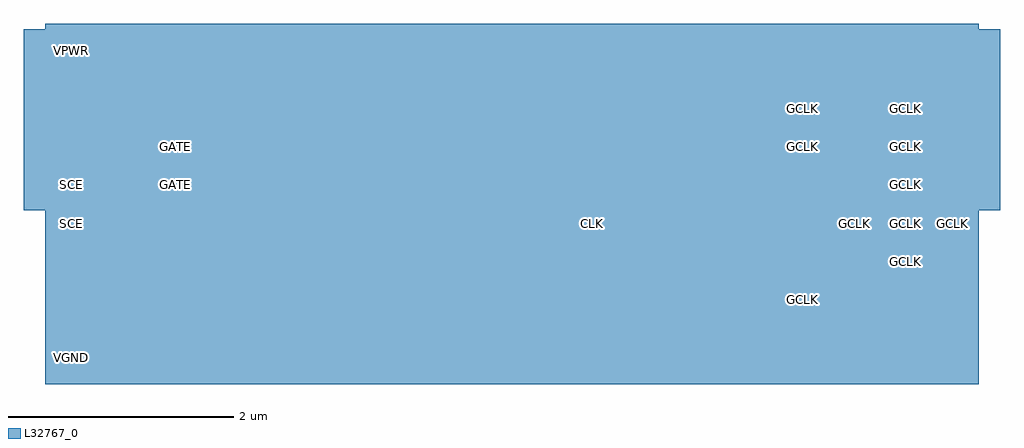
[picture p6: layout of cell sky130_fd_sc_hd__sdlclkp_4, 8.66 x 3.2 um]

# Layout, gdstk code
import gdstk
lib = gdstk.Library(unit=1e-6, precision=1e-09)
def R(c, l, rs):  # rectangles x0, y0, x1, y1
    for r in rs: c.add(gdstk.rectangle(r[:2], r[2:], *l))
def A(c, l, x, y, w, h, nx, ny, dx, dy):  # array of equal rectangles
    R(c, l, [(x+i*dx, y+j*dy, x+i*dx+w, y+j*dy+h) for i in range(nx) for j in range(ny)])
def P(c, l, *ps):  # polygons
    for p in ps: c.add(gdstk.Polygon(p, *l))
L32767_0 = (32767, 0)

sky130_fd_sc_hd__sdlclkp = lib.new_cell('sky130_fd_sc_hd__sdlclkp_4')
A(sky130_fd_sc_hd__sdlclkp, L32767_0, 0.605, -0.085, 0.17, 0.17, 17, 2, 0.46, 2.72)
A(sky130_fd_sc_hd__sdlclkp, L32767_0, 7.09, 1.105, 0.17, 0.17, 3, 1, 0.46, 0)
A(sky130_fd_sc_hd__sdlclkp, L32767_0, 7.55, 1.445, 0.17, 0.17, 1, 3, 0, 0.34)
A(sky130_fd_sc_hd__sdlclkp, L32767_0, 7.89, 1.575, 0.17, 0.17, 1, 3, 0, 0.34)
R(sky130_fd_sc_hd__sdlclkp, L32767_0, [(0,-0.19,8.28,1.015), (0.145,-0.085,0.315,0.085), (0.15,-0.085,0.32,0.085), (0.15,-0.085,0.32,0.085), (0,0,8.28,2.72), (0,0,8.28,2.72), (3.715,0.235,4.805,0.655), (5.225,0.235,8.1,0.885), (0.595,0.275,0.765,0.445), (1.55,0.275,1.72,0.445), (4.175,0.275,4.345,0.445), (6.08,0.275,6.25,0.445), (6.58,0.275,6.75,0.445), (7,0.295,7.17,0.465), (7.89,0.295,8.06,0.465), (1.015,0.335,1.185,0.505), (3.235,0.335,3.405,0.505), (7.42,0.335,7.59,0.505), (0.175,0.345,0.345,0.515), (5.265,0.375,5.435,0.545), (3.755,0.38,3.925,0.55), (4.595,0.38,4.765,0.55), (2.73,0.425,2.9,0.595), (6.63,0.425,6.8,0.595), (7.89,0.635,8.06,0.805), (1.875,0.705,2.16,1.035), (1.99,0.765,2.16,0.935), (3.85,0.765,4.02,0.935), (7.55,0.765,7.72,0.935), (1.365,0.785,1.535,0.955), (1.875,0.785,2.045,0.955), (0.085,0.955,0.345,1.665), (4.725,0.995,4.945,1.325), (5.685,0.995,6.065,1.325), (0.16,1.075,0.33,1.245), (0.855,1.075,1.025,1.245), (2.845,1.075,3.015,1.245), (4.725,1.075,4.895,1.245), (5.305,1.075,5.475,1.245), (5.895,1.075,6.065,1.245), (6.46,1.075,6.63,1.245), (0.15,1.105,0.32,1.275), (4.015,1.105,4.185,1.275), (4.77,1.105,4.94,1.275), (4.77,1.105,4.94,1.275), (5.71,1.105,5.88,1.275), (0,1.25,8.28,2.72), (-0.19,1.305,8.47,2.91), (0.15,1.445,0.32,1.615), (1.07,1.445,1.24,1.615), (1.53,1.445,1.7,1.615), (4.31,1.445,4.48,1.615), (5.205,1.485,8.1,2.485), (3.755,1.575,3.925,1.745), (4.725,1.575,4.895,1.745), (1.695,1.655,1.865,1.825), (2.375,1.655,2.545,1.825), (6.58,1.73,6.75,1.9), (7.42,1.73,7.59,1.9), (1.07,1.785,1.24,1.955), (6.63,1.785,6.8,1.955), (0.175,1.915,0.345,2.085), (7,1.915,7.17,2.085), (5.685,2.04,5.855,2.21), (6.58,2.07,6.75,2.24), (7.42,2.07,7.59,2.24), (3.235,2.12,3.405,2.29), (6.63,2.125,6.8,2.295), (1.01,2.205,1.18,2.375), (1.515,2.23,1.685,2.4), (0.175,2.255,0.345,2.425), (4.24,2.255,4.41,2.425), (7,2.255,7.17,2.425), (2.71,2.275,2.88,2.445), (5.265,2.275,5.435,2.445), (6.135,2.275,6.305,2.445), (0.145,2.635,0.315,2.805), (0.15,2.635,0.32,2.805), (0.15,2.635,0.32,2.805)])
P(sky130_fd_sc_hd__sdlclkp, L32767_0, [(4.08,0.965),(3.79,0.965),(3.79,0.92),(2.22,0.92),(2.22,0.965),(1.93,0.965),(1.93,0.735),(2.22,0.735),(2.22,0.78),(3.79,0.78),(3.79,0.735),(4.08,0.735)],
  [(5.94,1.305),(5.65,1.305),(5.65,1.26),(5,1.26),(5,1.305),(4.71,1.305),(4.71,1.075),(5,1.075),(5,1.12),(5.65,1.12),(5.65,1.075),(5.94,1.075)],
  [(4.54,1.645),(4.25,1.645),(4.25,1.6),(1.76,1.6),(1.76,1.645),(1.47,1.645),(1.47,1.415),(1.76,1.415),(1.76,1.46),(4.25,1.46),(4.25,1.415),(4.54,1.415)],
  [(8.28,0.085),(8.195,0.085),(8.195,0.885),(7.89,0.885),(7.89,0.085),(7.25,0.085),(7.25,0.545),(7,0.545),(7,0.085),(6.33,0.085),(6.33,0.445),(5.605,0.445),(5.605,0.085),(4.425,0.085),(4.425,0.445),(4.095,0.445),(4.095,0.085),(3.015,0.085),(3.015,0.825),(2.67,0.825),(2.67,0.085),(0.845,0.085),(0.845,0.445),(0.515,0.445),(0.515,0.085),(0,0.085),(0,-0.085),(8.28,-0.085)],
  [(8.28,2.805),(0,2.805),(0,2.635),(0.085,2.635),(0.085,1.835),(0.345,1.835),(0.345,2.635),(2.375,2.635),(2.375,2.075),(3.015,2.075),(3.015,2.635),(3.595,2.635),(3.595,2.255),(5.515,2.255),(5.515,2.635),(6.055,2.635),(6.055,2.255),(6.385,2.255),(6.385,2.635),(7,2.635),(7,1.825),(7.25,1.825),(7.25,2.635),(7.89,2.635),(7.89,1.485),(8.195,1.485),(8.195,2.635),(8.28,2.635)],
  [(8.195,1.315),(7.72,1.315),(7.72,2.465),(7.42,2.465),(7.42,1.315),(7.22,1.315),(7.22,1.655),(6.83,1.655),(6.83,2.465),(6.58,2.465),(6.58,1.485),(7.05,1.485),(7.05,0.885),(6.58,0.885),(6.58,0.445),(6.5,0.445),(6.5,0.255),(6.83,0.255),(6.83,0.715),(7.22,0.715),(7.22,1.055),(7.42,1.055),(7.42,0.255),(7.72,0.255),(7.72,1.055),(8.195,1.055)],
  [(6.88,1.315),(6.41,1.315),(6.41,2.085),(5.855,2.085),(5.855,2.465),(5.685,2.465),(5.685,1.495),(6.24,1.495),(6.24,0.785),(5.015,0.785),(5.015,0.255),(5.435,0.255),(5.435,0.615),(6.41,0.615),(6.41,1.055),(6.88,1.055)],
  [(5.515,2.085),(3.405,2.085),(3.405,2.465),(3.185,2.465),(3.185,1.905),(2.375,1.905),(2.375,1.575),(2.545,1.575),(2.545,1.635),(3.185,1.635),(3.185,0.255),(3.405,0.255),(3.405,1.915),(5.165,1.915),(5.165,0.995),(5.515,0.995)],
  [(4.975,1.745),(4.175,1.745),(4.175,1.275),(3.935,1.275),(3.935,1.105),(4.19,1.105),(4.19,0.615),(4.595,0.615),(4.595,0.255),(4.845,0.255),(4.845,0.785),(4.48,0.785),(4.48,1.495),(4.975,1.495)],
  [(4.02,0.935),(3.765,0.935),(3.765,1.575),(4.005,1.575),(4.005,1.745),(3.595,1.745),(3.595,0.255),(3.925,0.255),(3.925,0.765),(4.02,0.765)],
  [(3.015,1.375),(2.205,1.375),(2.205,2.465),(1.43,2.465),(1.43,2.125),(2.035,2.125),(2.035,1.205),(2.33,1.205),(2.33,0.535),(1.365,0.535),(1.365,0.255),(2.5,0.255),(2.5,0.995),(3.015,0.995)],
  [(1.865,1.955),(1.41,1.955),(1.41,1.325),(1.365,1.325),(1.365,0.705),(1.705,0.705),(1.705,1.205),(1.865,1.205)],
  [(1.26,2.465),(0.515,2.465),(0.515,0.785),(0.085,0.785),(0.085,0.255),(0.345,0.255),(0.345,0.615),(1.015,0.615),(1.015,0.255),(1.195,0.255),(1.195,0.785),(0.685,0.785),(0.685,2.125),(1.26,2.125)],
  [(1.24,1.955),(0.855,1.955),(0.855,0.955),(1.195,0.955),(1.195,1.445),(1.24,1.445)],
  [(8.28,1.345),(4.285,1.345),(4.285,1.375),(3.915,1.375),(3.915,1.345),(2.645,1.345),(2.645,1.925),(1.595,1.925),(1.595,1.345),(0,1.345),(0,0.975),(1.265,0.975),(1.265,0.685),(2.145,0.685),(2.145,0.975),(8.28,0.975)],
  [(8.28,2.91),(0,2.91),(0,1.355),(1.585,1.355),(1.585,1.935),(2.655,1.935),(2.655,1.355),(3.615,1.355),(3.615,1.385),(4.295,1.385),(4.295,1.355),(8.28,1.355)],
  [(6.115,1.325),(6.055,1.325),(6.055,2.615),(5.905,2.615),(5.905,1.325),(5.845,1.325),(5.845,0.105),(5.995,0.105),(5.995,0.995),(6.115,0.995)],
  [(7.79,2.615),(7.64,2.615),(7.64,1.295),(7.37,1.295),(7.37,2.615),(7.22,2.615),(7.22,1.295),(6.95,1.295),(6.95,2.615),(6.8,2.615),(6.8,1.295),(6.53,1.295),(6.53,2.615),(6.38,2.615),(6.38,0.105),(6.53,0.105),(6.53,1.025),(6.8,1.025),(6.8,0.105),(6.95,0.105),(6.95,1.025),(7.22,1.025),(7.22,0.105),(7.37,0.105),(7.37,1.025),(7.64,1.025),(7.64,0.105),(7.79,0.105)],
  [(4.265,1.325),(4.125,1.325),(4.125,2.615),(3.975,2.615),(3.975,1.325),(3.935,1.325),(3.935,1.055),(3.975,1.055),(3.975,0.105),(4.125,0.105),(4.125,1.055),(4.265,1.055)],
  [(3.185,2.615),(3.035,2.615),(3.035,1.325),(2.795,1.325),(2.795,0.995),(3.035,0.995),(3.035,0.105),(3.185,0.105)],
  [(2.595,1.905),(2.505,1.905),(2.505,2.615),(2.355,2.615),(2.355,1.905),(2.325,1.905),(2.325,1.575),(2.435,1.575),(2.435,0.105),(2.585,0.105),(2.585,1.575),(2.595,1.575)],
  [(2.095,1.035),(1.975,1.035),(1.975,1.365),(1.435,1.365),(1.435,2.615),(1.285,2.615),(1.285,1.215),(1.825,1.215),(1.825,0.105),(1.975,0.105),(1.975,0.705),(2.095,0.705)],
  [(1.915,2.615),(1.765,2.615),(1.765,1.905),(1.645,1.905),(1.645,1.575),(1.915,1.575)],
  [(5.635,2.615),(5.485,2.615),(5.485,1.325),(5.255,1.325),(5.255,0.995),(5.485,0.995),(5.485,0.105),(5.635,0.105)],
  [(4.945,1.325),(4.675,1.325),(4.675,2.615),(4.525,2.615),(4.525,0.88),(4.395,0.88),(4.395,0.105),(4.545,0.105),(4.545,0.73),(4.945,0.73)],
  [(1.615,1.005),(1.285,1.005),(1.285,0.735),(1.3,0.735),(1.3,0.105),(1.45,0.105),(1.45,0.735),(1.615,0.735)],
  [(1.075,1.325),(0.905,1.325),(0.905,2.615),(0.755,2.615),(0.755,0.995),(0.815,0.995),(0.815,0.105),(0.965,0.105),(0.965,0.995),(1.075,0.995)],
  [(0.545,2.615),(0.395,2.615),(0.395,1.325),(0.11,1.325),(0.11,0.995),(0.395,0.995),(0.395,0.105),(0.545,0.105)],
  [(4.935,2.155),(4.45,2.155),(4.45,2.485),(4.2,2.485),(4.2,2.155),(3.715,2.155),(3.715,1.515),(4.935,1.515)],
  [(3.445,0.885),(2.66,0.885),(2.66,0.655),(2.185,0.655),(2.185,0.595),(1.225,0.595),(1.225,0.655),(0.135,0.655),(0.135,0.235),(3.445,0.235)],
  [(3.445,2.485),(0.135,2.485),(0.135,1.845),(1.21,1.845),(1.21,2.065),(2.785,2.065),(2.785,1.485),(3.445,1.485)])
sky130_fd_sc_hd__sdlclkp.add(gdstk.FlexPath([(0,2.72),(8.28,2.72)], 0.48, ends="flush", simple_path=True, layer=32767, datatype=0))  # L32767_0
sky130_fd_sc_hd__sdlclkp.add(gdstk.FlexPath([(0,0),(8.28,0)], 0.48, ends="flush", simple_path=True, layer=32767, datatype=0))  # L32767_0
sky130_fd_sc_hd__sdlclkp.add(gdstk.Label('SCE', (0.23,1.53), layer=32767, texttype=5))
sky130_fd_sc_hd__sdlclkp.add(gdstk.Label('CLK', (4.855,1.19), layer=32767, texttype=5))
sky130_fd_sc_hd__sdlclkp.add(gdstk.Label('GCLK', (6.715,2.21), layer=32767, texttype=5))
sky130_fd_sc_hd__sdlclkp.add(gdstk.Label('GCLK', (6.715,1.87), layer=32767, texttype=5))
sky130_fd_sc_hd__sdlclkp.add(gdstk.Label('GATE', (1.155,1.87), layer=32767, texttype=5))
sky130_fd_sc_hd__sdlclkp.add(gdstk.Label('GCLK', (6.715,0.51), layer=32767, texttype=5))
sky130_fd_sc_hd__sdlclkp.add(gdstk.Label('GATE', (1.155,1.53), layer=32767, texttype=5))
sky130_fd_sc_hd__sdlclkp.add(gdstk.Label('SCE', (0.23,1.19), layer=32767, texttype=5))
sky130_fd_sc_hd__sdlclkp.add(gdstk.Label('GCLK', (7.175,1.19), layer=32767, texttype=5))
sky130_fd_sc_hd__sdlclkp.add(gdstk.Label('GCLK', (7.635,2.21), layer=32767, texttype=5))
sky130_fd_sc_hd__sdlclkp.add(gdstk.Label('GCLK', (7.635,1.87), layer=32767, texttype=5))
sky130_fd_sc_hd__sdlclkp.add(gdstk.Label('GCLK', (7.635,1.53), layer=32767, texttype=5))
sky130_fd_sc_hd__sdlclkp.add(gdstk.Label('GCLK', (7.635,1.19), layer=32767, texttype=5))
sky130_fd_sc_hd__sdlclkp.add(gdstk.Label('GCLK', (8.05,1.19), layer=32767, texttype=5))
sky130_fd_sc_hd__sdlclkp.add(gdstk.Label('GCLK', (7.635,0.85), layer=32767, texttype=5))
sky130_fd_sc_hd__sdlclkp.add(gdstk.Label('VGND', (0.23,0), layer=32767, texttype=5))
sky130_fd_sc_hd__sdlclkp.add(gdstk.Label('VPWR', (0.23,2.72), layer=32767, texttype=5))
sky130_fd_sc_hd__sdlclkp.add(gdstk.Label('VPB', (0.235,2.72), layer=32767, texttype=5))
sky130_fd_sc_hd__sdlclkp.add(gdstk.Label('VNB', (0.235,0), layer=32767, texttype=59))
sky130_fd_sc_hd__sdlclkp.add(gdstk.Label('sdlclkp_4', (0,0), layer=32767, texttype=44))

lib.write_gds('sky130_fd_sc_hd__sdlclkp_4.gds')
